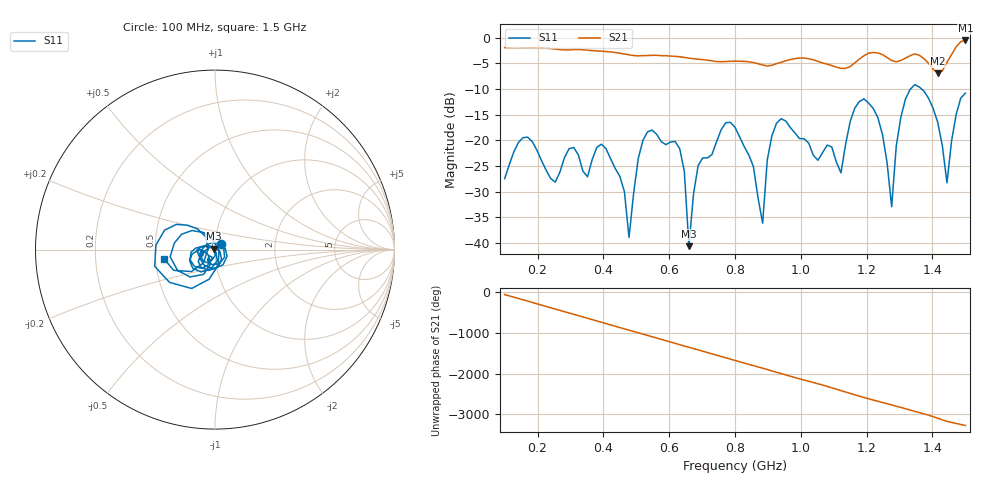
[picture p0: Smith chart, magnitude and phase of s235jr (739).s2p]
! NanoVNA-App
! Date: 2025-09-25 15:09:55
! Start: 100MHz Stop: 1,5GHz Points: 101
! S-Parameter data: F S11 S21 S12 S22
# Hz S RI R 50
!  Frequency  S11_Real  S11_Imag  S21_Real  S21_Imag  S12_Real  S12_Imag  S22_Real  S22_Imag
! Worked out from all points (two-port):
!   101 points, 100 MHz to 1.5 GHz, reference 50 ohm
!   highest |S21| = -0.57 dB at 1.5 GHz (marker M1); lowest = -7.0 dB at 1.416 GHz (marker M2)
!   |S21| within 3 dB of the highest: start of sweep to 596.2 MHz; 1.191 GHz to 1.254 GHz (62.97 MHz wide, 5.15 % of centre) (the widest 2 of 4)
!   lowest |S11| = -40.6 dB at 660 MHz (marker M3), VSWR 1.02, Z = 49.2 + j0.546 ohm
!   |S11| at or under -10 dB: start of sweep to 1.334 GHz; 1.367 GHz to end of sweep
!   S12 and S22 are empty: the file has one direction only
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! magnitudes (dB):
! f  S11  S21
! 100 MHz  -27.5  -2.0
! 170 MHz  -19.4  -2.0
! 338 MHz  -26.0  -2.4
! 408 MHz  -21.6  -2.7
! 478 MHz  -38.9  -3.4
! 520 MHz  -20.1  -3.5
! 576 MHz  -20.3  -3.5
! 632 MHz  -21.6  -3.7
! 660 MHz  -40.6  -4.0
! 688 MHz  -24.9  -4.2
! 800 MHz  -17.5  -4.6
! 884 MHz  -36.1  -5.3
! 926 MHz  -16.7  -5.1
! 1.038 GHz  -22.9  -4.3
! 1.122 GHz  -26.3  -6.0
! 1.192 GHz  -11.9  -3.5
! 1.248 GHz  -18.8  -3.3
! 1.276 GHz  -32.9  -4.5
! 1.332 GHz  -10.1  -3.5
! 1.416 GHz  -16.5  -7.0
! 1.444 GHz  -28.3  -4.8
! 1.5 GHz  -10.8  -0.6
